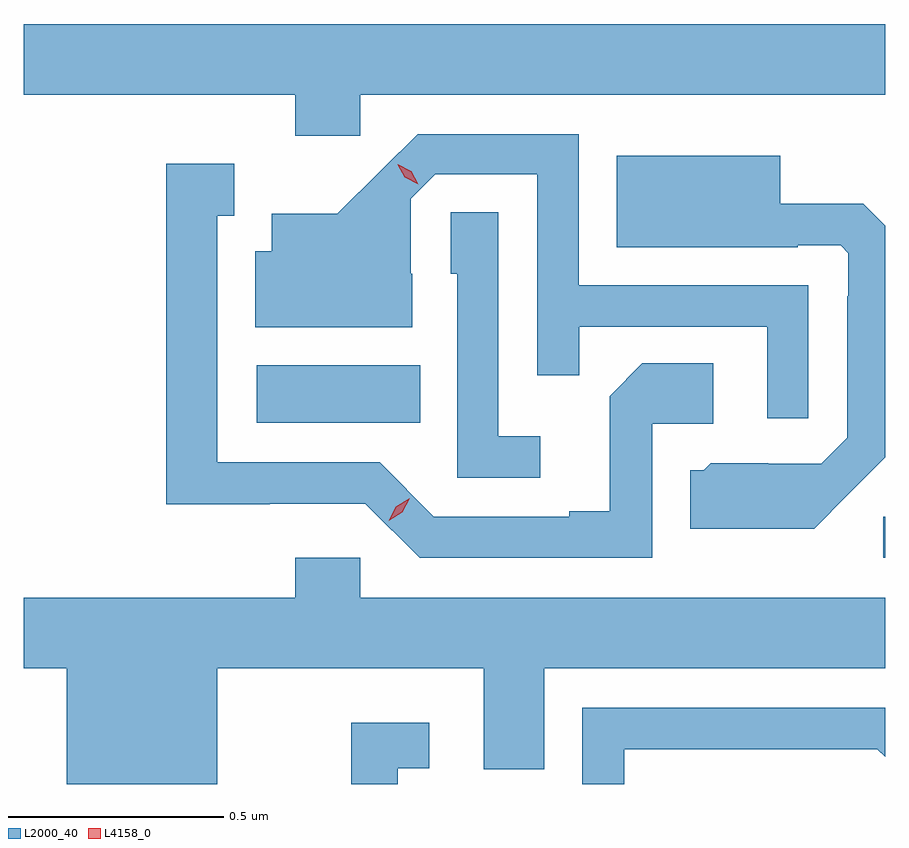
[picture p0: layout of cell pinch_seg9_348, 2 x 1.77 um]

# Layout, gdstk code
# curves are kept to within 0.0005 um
import gdstk
lib = gdstk.Library(unit=1e-6, precision=1e-09)
def R(c, l, rs):  # rectangles x0, y0, x1, y1
    for r in rs: c.add(gdstk.rectangle(r[:2], r[2:], *l))
def P(c, l, *ps):  # polygons
    for p in ps: c.add(gdstk.Polygon(p, *l))
L2000_40 = (2000, 40)
L4158_0 = (4158, 0)

pinch_seg9_348 = lib.new_cell('pinch_seg9_348')
R(pinch_seg9_348, L2000_40, [(623.013,1203.336,623.017,1203.432), (621.558,1203.65,621.938,1203.784)])
P(pinch_seg9_348, L2000_40, [(621.798,1204.412),(623.017,1204.412),(623.017,1204.576),(621.017,1204.576),(621.017,1204.412),(621.647,1204.412),(621.647,1204.317),(621.798,1204.317)],
  [(622.839,1203.969),(622.305,1203.969),(622.305,1204.32),(621.932,1204.32),(621.745,1204.135),(621.593,1204.135),(621.593,1204.048),(621.554,1204.048),(621.554,1203.872),(621.919,1203.872),(621.919,1203.996),(621.915,1203.996),(621.915,1204.17),(621.972,1204.227),(622.209,1204.227),(622.209,1203.76),(622.307,1203.76),(622.307,1203.873),(622.743,1203.873),(622.743,1203.66),(622.839,1203.66)],
  [(622.933,1203.485),(623.017,1203.57),(623.017,1204.108),(622.966,1204.159),(622.774,1204.159),(622.774,1204.27),(622.394,1204.27),(622.394,1204.058),(622.814,1204.058),(622.814,1204.062),(622.914,1204.062),(622.932,1204.044),(622.932,1203.944),(622.929,1203.944),(622.929,1203.615),(622.869,1203.555),(622.746,1203.555),(622.746,1203.556),(622.612,1203.556),(622.596,1203.54),(622.565,1203.54),(622.565,1203.404),(622.853,1203.404)],
  [(622.476,1203.648),(622.618,1203.648),(622.618,1203.788),(622.453,1203.788),(622.377,1203.712),(622.377,1203.445),(622.283,1203.445),(622.283,1203.432),(621.969,1203.432),(621.843,1203.558),(621.466,1203.558),(621.466,1204.131),(621.505,1204.131),(621.505,1204.252),(621.348,1204.252),(621.348,1203.461),(621.588,1203.461),(621.588,1203.462),(621.81,1203.462),(621.936,1203.336),(622.476,1203.336)],
  [(622.216,1203.619),(622.119,1203.619),(622.119,1204.139),(622.008,1204.139),(622.008,1203.996),(622.023,1203.996),(622.023,1203.522),(622.216,1203.522)],
  [(621.466,1203.08),(622.085,1203.08),(622.085,1202.845),(622.225,1202.845),(622.225,1203.08),(623.017,1203.08),(623.017,1203.244),(621.798,1203.244),(621.798,1203.337),(621.647,1203.337),(621.647,1203.244),(621.017,1203.244),(621.017,1203.08),(621.116,1203.08),(621.116,1202.811),(621.466,1202.811)],
  [(622.411,1202.892),(622.999,1202.892),(623.017,1202.874),(623.017,1202.988),(622.314,1202.988),(622.314,1202.811),(622.411,1202.811)],
  [(621.885,1202.847),(621.958,1202.847),(621.958,1202.953),(621.777,1202.953),(621.777,1202.811),(621.885,1202.811)])
P(pinch_seg9_348, L4158_0, [(621.933,1204.204),(621.902,1204.22),(621.885,1204.249),(621.885,1204.25),(621.885,1204.25),(621.916,1204.234),(621.933,1204.204),(621.933,1204.204)],
  [(621.864,1203.422),(621.864,1203.422),(621.881,1203.455),(621.913,1203.475),(621.913,1203.475),(621.913,1203.475),(621.896,1203.442),(621.864,1203.422)])

lib.write_gds('pinch_seg9_348.gds')
